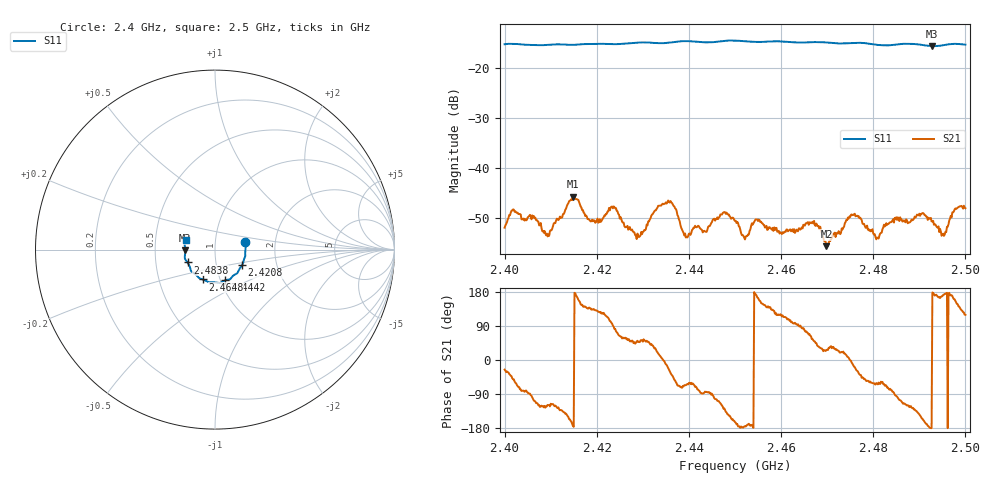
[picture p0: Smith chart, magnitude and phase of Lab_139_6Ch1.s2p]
# Hz S RI R 50
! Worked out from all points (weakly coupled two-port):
!   601 points, 2.4 GHz to 2.5 GHz, reference 50 ohm
!   highest |S21| = -45.79 dB at 2.4148 GHz (marker M1); lowest = -55.7 dB at 2.4698 GHz (marker M2)
!   lowest |S11| = -15.6 dB at 2.4928 GHz (marker M3), VSWR 1.40, Z = 35.8 - j0.36 ohm
!   |S11| at or under -10 dB: start of sweep to end of sweep
!   S12 and S22 are empty: the file has one direction only
!   S11 on the Smith chart (normalised r, x): 2.4 GHz: 1.40, +0.12; 2.4208 GHz: 1.33, -0.24; 2.4442 GHz: 1.05, -0.37; 2.4648 GHz: 0.83, -0.28; 2.4838 GHz: 0.73, -0.11; 2.5 GHz: 0.72, +0.08
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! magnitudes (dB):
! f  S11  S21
! 2.4 GHz  -15.2  -52.0
! 2.402 GHz  -15.2  -48.4
! 2.4093 GHz  -15.4  -53.7
! 2.4148 GHz  -15.4  -45.8
! 2.4167 GHz  -15.3  -48.0
! 2.4208 GHz  -15.2  -50.8
! 2.4237 GHz  -15.2  -47.7
! 2.429 GHz  -14.9  -53.7
! 2.4333 GHz  -15.0  -47.6
! 2.4363 GHz  -14.9  -47.0
! 2.4393 GHz  -14.6  -54.0
! 2.4442 GHz  -14.9  -51.8
! 2.45 GHz  -14.5  -50.6
! 2.4648 GHz  -14.9  -51.4
! 2.4667 GHz  -14.8  -51.0
! 2.4698 GHz  -14.9  -55.7
! 2.4755 GHz  -15.0  -49.5
! 2.4833 GHz  -15.5  -51.2
! 2.4838 GHz  -15.4  -50.9
! 2.4928 GHz  -15.6  -50.7
! 2.4953 GHz  -15.4  -53.6
! 2.5 GHz  -15.3  -48.1
